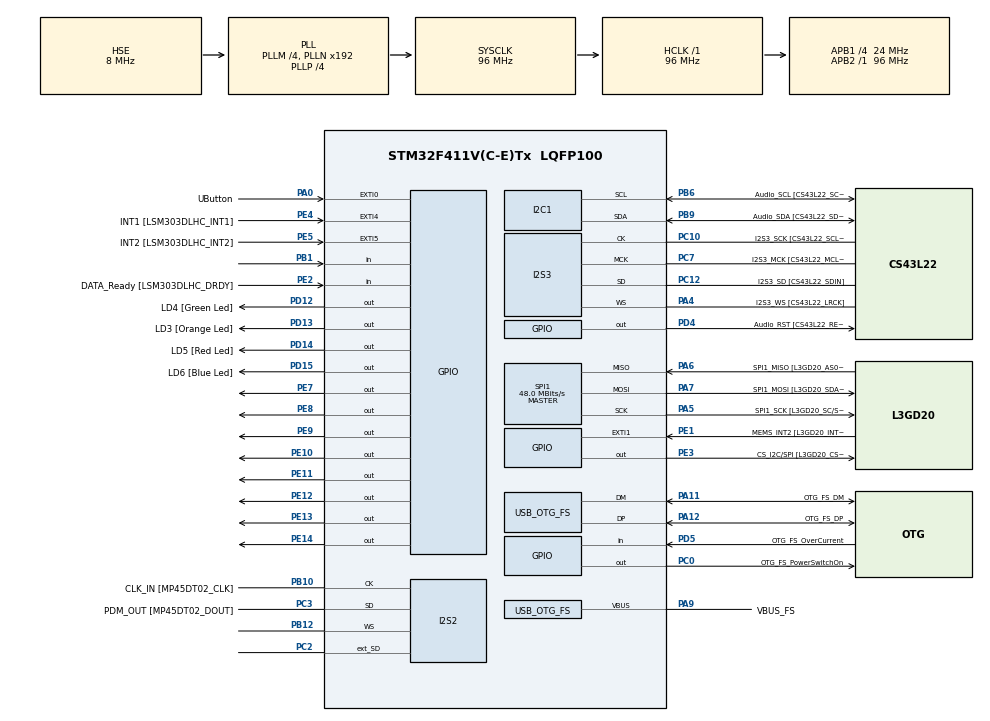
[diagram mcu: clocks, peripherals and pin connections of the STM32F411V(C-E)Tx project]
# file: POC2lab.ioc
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I2S2.AudioFreq=I2S_AUDIOFREQ_96K
I2S2.ErrorAudioFreq=0.15 %
I2S2.FullDuplexMode=I2S_FULLDUPLEXMODE_ENABLE
I2S2.Instance=SPI$Index
I2S2.RealAudioFreq=96.153 KHz
I2S2.VirtualMode=I2S_MODE_MASTER
I2S3.AudioFreq=I2S_AUDIOFREQ_96K
I2S3.ErrorAudioFreq=-6.99 %
I2S3.FullDuplexMode=I2S_FULLDUPLEXMODE_DISABLE
I2S3.Instance=SPI$Index
I2S3.RealAudioFreq=89.285 KHz
I2S3.VirtualMode=I2S_MODE_MASTER
Mcu.Family=STM32F4
Mcu.Name=STM32F411V(C-E)Tx
Mcu.Package=LQFP100
NVIC.OTG_FS_IRQn=true\:0\:0\:false\:false\:true\:true\:true\:true
NVIC.PriorityGroup=NVIC_PRIORITYGROUP_0
PA0-WKUP.GPIO_Label=UButton
PA0-WKUP.GPIO_ModeDefaultEXTI=GPIO_MODE_EVT_RISING
PA0-WKUP.Signal=GPXTI0
PA10.GPIO_Label=OTG_FS_ID
PA10.Signal=USB_OTG_FS_ID
PA11.GPIO_Label=OTG_FS_DM
PA11.Mode=Host_Only
PA11.Signal=USB_OTG_FS_DM
PA12.GPIO_Label=OTG_FS_DP
PA12.Mode=Host_Only
PA12.Signal=USB_OTG_FS_DP
PA13.GPIO_Label=SWDIO
PA13.Mode=Serial_Wire
PA13.Signal=SYS_JTMS-SWDIO
PA14.GPIO_Label=SWCLK
PA14.Mode=Serial_Wire
PA14.Signal=SYS_JTCK-SWCLK
PA4.GPIO_Label=I2S3_WS [CS43L22_LRCK]
PA4.GPIO_Mode=GPIO_MODE_AF_PP
PA4.GPIO_PuPd=GPIO_NOPULL
PA4.GPIO_Speed=GPIO_SPEED_FREQ_LOW
PA4.Mode=Half_Duplex_Master
PA4.Signal=I2S3_WS
PA5.GPIO_Label=SPI1_SCK [L3GD20_SC/SPC]
PA5.Mode=Full_Duplex_Master
PA5.Signal=SPI1_SCK
PA6.GPIO_Label=SPI1_MISO [L3GD20_AS0/SDO]
PA6.Mode=Full_Duplex_Master
PA6.Signal=SPI1_MISO
PA7.GPIO_Label=SPI1_MOSI [L3GD20_SDA/SDI/SDO]
PA7.Mode=Full_Duplex_Master
PA7.Signal=SPI1_MOSI
PA9.GPIO_Label=VBUS_FS
PA9.Mode=Activate_VBUS
PA9.Signal=USB_OTG_FS_VBUS
PB1.Signal=GPIO_Input
PB10.GPIO_Label=CLK_IN [MP45DT02_CLK]
PB10.Mode=Full_Duplex_Master
PB10.Signal=I2S2_CK
PB12.Mode=Full_Duplex_Master
PB12.Signal=I2S2_WS
PB3.GPIO_Label=SWO
PB3.Signal=SYS_JTDO-SWO
PB6.GPIO_Label=Audio_SCL [CS43L22_SCL]
PB6.GPIO_Mode=GPIO_MODE_AF_OD
PB6.GPIO_Pu=GPIO_PULLUP
PB6.GPIO_PuPd=GPIO_NOPULL
PB6.GPIO_Speed=GPIO_SPEED_FREQ_LOW
PB6.Mode=I2C
PB6.Signal=I2C1_SCL
PB9.GPIO_Label=Audio_SDA [CS43L22_SDA]
PB9.GPIO_Mode=GPIO_MODE_AF_OD
PB9.GPIO_Pu=GPIO_PULLUP
PB9.GPIO_PuPd=GPIO_NOPULL
PB9.GPIO_Speed=GPIO_SPEED_FREQ_LOW
PB9.Mode=I2C
PB9.Signal=I2C1_SDA
PC0.GPIO_Label=OTG_FS_PowerSwitchOn
PC0.PinState=GPIO_PIN_SET
PC0.Signal=GPIO_Output
PC10.GPIO_Label=I2S3_SCK [CS43L22_SCLK]
PC10.GPIO_Mode=GPIO_MODE_AF_PP
PC10.GPIO_PuPd=GPIO_NOPULL
PC10.GPIO_Speed=GPIO_SPEED_FREQ_LOW
PC10.Mode=Half_Duplex_Master
PC10.Signal=I2S3_CK
PC12.GPIO_Label=I2S3_SD [CS43L22_SDIN]
PC12.GPIO_Mode=GPIO_MODE_AF_PP
PC12.GPIO_PuPd=GPIO_NOPULL
PC12.GPIO_Speed=GPIO_SPEED_FREQ_LOW
PC12.Mode=Half_Duplex_Master
PC12.Signal=I2S3_SD
PC14-OSC32_IN.GPIO_Label=PC14-OSC32_IN
PC14-OSC32_IN.Mode=LSE-External-Oscillator
PC14-OSC32_IN.Signal=RCC_OSC32_IN
PC15-OSC32_OUT.GPIO_Label=PC15-OSC32_OUT
PC15-OSC32_OUT.Mode=LSE-External-Oscillator
PC15-OSC32_OUT.Signal=RCC_OSC32_OUT
PC2.Mode=Full_Duplex_Master
PC2.Signal=I2S2_ext_SD
PC3.GPIO_Label=PDM_OUT [MP45DT02_DOUT]
PC3.Mode=Full_Duplex_Master
PC3.Signal=I2S2_SD
PC7.GPIO_Label=I2S3_MCK [CS43L22_MCLK]
PC7.GPIO_Mode=GPIO_MODE_AF_PP
PC7.GPIO_PuPd=GPIO_NOPULL
PC7.GPIO_Speed=GPIO_SPEED_FREQ_LOW
PC7.Mode=Master_Clock_Activated
PC7.Signal=I2S3_MCK
PD12.GPIO_Label=LD4 [Green Led]
PD12.GPIO_PuPd=GPIO_NOPULL
PD12.GPIO_Speed=GPIO_SPEED_FREQ_LOW
PD12.Signal=GPIO_Output
PD13.GPIO_Label=LD3 [Orange Led]
PD13.GPIO_PuPd=GPIO_NOPULL
PD13.GPIO_Speed=GPIO_SPEED_FREQ_LOW
PD13.Signal=GPIO_Output
PD14.GPIO_Label=LD5 [Red Led]
PD14.GPIO_PuPd=GPIO_NOPULL
PD14.GPIO_Speed=GPIO_SPEED_FREQ_LOW
PD14.Signal=GPIO_Output
PD15.GPIO_Label=LD6 [Blue Led]
PD15.GPIO_PuPd=GPIO_NOPULL
PD15.GPIO_Speed=GPIO_SPEED_FREQ_LOW
PD15.Signal=GPIO_Output
PD4.GPIO_Label=Audio_RST [CS43L22_RESET]
PD4.Signal=GPIO_Output
PD5.GPIO_Label=OTG_FS_OverCurrent
PD5.Signal=GPIO_Input
PE1.GPIO_Label=MEMS_INT2 [L3GD20_INT2]
PE1.GPIO_ModeDefaultEXTI=GPIO_MODE_EVT_RISING
PE1.Signal=GPXTI1
PE10.Signal=GPIO_Output
PE11.Signal=GPIO_Output
PE12.Signal=GPIO_Output
PE13.Signal=GPIO_Output
PE14.Signal=GPIO_Output
PE2.GPIO_Label=DATA_Ready [LSM303DLHC_DRDY]
PE2.Signal=GPIO_Input
PE3.GPIO_Label=CS_I2C/SPI [L3GD20_CS_I2C/SPI]
PE3.Signal=GPIO_Output
PE4.GPIO_Label=INT1 [LSM303DLHC_INT1]
PE4.GPIO_ModeDefaultEXTI=GPIO_MODE_EVT_RISING
PE4.Signal=GPXTI4
PE5.GPIO_Label=INT2 [LSM303DLHC_INT2]
PE5.GPIO_ModeDefaultEXTI=GPIO_MODE_EVT_RISING
PE5.Signal=GPXTI5
PE7.Signal=GPIO_Output
PE8.Signal=GPIO_Output
PE9.Signal=GPIO_Output
PH0\ -\ OSC_IN.GPIO_Label=PH0-OSC_IN
PH0\ -\ OSC_IN.Mode=HSE-External-Oscillator
PH0\ -\ OSC_IN.Signal=RCC_OSC_IN
PH1\ -\ OSC_OUT.GPIO_Label=PH1-OSC_OUT
PH1\ -\ OSC_OUT.Mode=HSE-External-Oscillator
PH1\ -\ OSC_OUT.Signal=RCC_OSC_OUT
ProjectManager.HeapSize=0x200
ProjectManager.StackSize=0x400
ProjectManager.TargetToolchain=STM32CubeIDE
RCC.48MHZClocksFreq_Value=48000000
RCC.AHBFreq_Value=96000000
RCC.APB1CLKDivider=RCC_HCLK_DIV4
RCC.APB1Freq_Value=24000000
RCC.APB1TimFreq_Value=48000000
RCC.APB2Freq_Value=96000000
RCC.APB2TimFreq_Value=96000000
RCC.CortexFreq_Value=96000000
RCC.HCLKFreq_Value=96000000
RCC.HSE_VALUE=8000000
RCC.HSI_VALUE=16000000
RCC.PLLI2SM=5
RCC.PLLI2SN=200
RCC.PLLM=4
RCC.PLLP=RCC_PLLP_DIV4
RCC.PLLQ=8
RCC.SYSCLKFreq_VALUE=96000000
RCC.SYSCLKSource=RCC_SYSCLKSOURCE_PLLCLK
RCC.VCOOutputFreq_Value=384000000
SPI1.BaudRatePrescaler=SPI_BAUDRATEPRESCALER_2
SPI1.CalculateBaudRate=48.0 MBits/s
SPI1.Direction=SPI_DIRECTION_2LINES
SPI1.Mode=SPI_MODE_MASTER
SPI1.VirtualType=VM_MASTER
USB_HOST.BSP.number=1
USB_HOST.USBH_HandleTypeDef=hUsbHostFS
USB_HOST.VirtualModeFS=Cdc
USB_HOST0.BSP.STBoard=false
USB_HOST0.BSP.api=Unknown
USB_HOST0.BSP.instance=PC0
USB_HOST0.BSP.ip=GPIO
USB_HOST0.BSP.mode=Output
USB_HOST0.BSP.name=Drive_VBUS_FS
USB_HOST0.BSP.solution=PC0
USB_OTG_FS.VirtualMode=Host_Only
USB_OTG_FS.phy_itface=HCD_PHY_EMBEDDED
VP_USB_HOST_VS_USB_HOST_CDC_FS.Mode=CDC_FS
board=STM32F411E-DISCO

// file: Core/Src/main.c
/* USER CODE BEGIN Header */
/**
  ******************************************************************************
  * @file           : main.c
  * @brief          : Main program body
  ******************************************************************************
  * @attention
  *
  * Copyright (c) 2023 STMicroelectronics.
  * All rights reserved.
  *
  * This software is licensed under terms that can be found in the LICENSE file
  * in the root directory of this software component.
  * If no LICENSE file comes with this software, it is provided AS-IS.
  *
  ******************************************************************************
  */
/* USER CODE END Header */
#include "main.h"
#include "usb_host.h"

I2C_HandleTypeDef hi2c1;

I2S_HandleTypeDef hi2s2;
I2S_HandleTypeDef hi2s3;

SPI_HandleTypeDef hspi1;

void SystemClock_Config(void);
void PeriphCommonClock_Config(void);
static void MX_GPIO_Init(void);
static void MX_I2C1_Init(void);
static void MX_I2S2_Init(void);
static void MX_I2S3_Init(void);
static void MX_SPI1_Init(void);
void MX_USB_HOST_Process(void);

int main(void)
{

  /* MCU Configuration--------------------------------------------------------*/

  /* Reset of all peripherals, Initializes the Flash interface and the Systick. */
  HAL_Init();

  /* Configure the system clock */
  SystemClock_Config();

/* Configure the peripherals common clocks */
  PeriphCommonClock_Config();

  /* Initialize all configured peripherals */
  MX_GPIO_Init();
  MX_I2C1_Init();
  MX_I2S2_Init();
  MX_I2S3_Init();
  MX_SPI1_Init();
  MX_USB_HOST_Init();

  /* Infinite loop */
  /* USER CODE BEGIN WHILE */
  int pressed = 0;
  while (1)
  {
	  if ( HAL_GPIO_ReadPin(GPIOB, GPIO_PIN_1))
	   {
		   ++pressed;
		      HAL_Delay(50); //<========
		      while( HAL_GPIO_ReadPin(GPIOB, GPIO_PIN_1) )
		      {}
		      HAL_Delay(50);
	   }

	   HAL_GPIO_WritePin(GPIOE, GPIO_PIN_7, pressed & 1);
	   HAL_GPIO_WritePin(GPIOE, GPIO_PIN_8, pressed & 1 << 1);
	   HAL_GPIO_WritePin(GPIOE, GPIO_PIN_9, pressed & 1 << 2);
	   HAL_GPIO_WritePin(GPIOE, GPIO_PIN_10, pressed & 1 << 3);
	   HAL_GPIO_WritePin(GPIOE, GPIO_PIN_11, pressed & 1 << 4);
	   HAL_GPIO_WritePin(GPIOE, GPIO_PIN_12, pressed & 1 << 5);
	   HAL_GPIO_WritePin(GPIOE, GPIO_PIN_13, pressed & 1 << 6);
	   HAL_GPIO_WritePin(GPIOE, GPIO_PIN_14, pressed & 1 << 7);
    /* USER CODE END WHILE */
    MX_USB_HOST_Process();

  }
}

void SystemClock_Config(void)
{
  RCC_OscInitTypeDef RCC_OscInitStruct = {0};
  RCC_ClkInitTypeDef RCC_ClkInitStruct = {0};

  /** Configure the main internal regulator output voltage
  */
  __HAL_RCC_PWR_CLK_ENABLE();
  __HAL_PWR_VOLTAGESCALING_CONFIG(PWR_REGULATOR_VOLTAGE_SCALE1);

  /** Initializes the RCC Oscillators according to the specified parameters
  * in the RCC_OscInitTypeDef structure.
  */
  RCC_OscInitStruct.OscillatorType = RCC_OSCILLATORTYPE_HSE;
  RCC_OscInitStruct.HSEState = RCC_HSE_ON;
  RCC_OscInitStruct.PLL.PLLState = RCC_PLL_ON;
  RCC_OscInitStruct.PLL.PLLSource = RCC_PLLSOURCE_HSE;
  RCC_OscInitStruct.PLL.PLLM = 4;
  RCC_OscInitStruct.PLL.PLLN = 192;
  RCC_OscInitStruct.PLL.PLLP = RCC_PLLP_DIV4;
  RCC_OscInitStruct.PLL.PLLQ = 8;
  if (HAL_RCC_OscConfig(&RCC_OscInitStruct) != HAL_OK)
  {
    Error_Handler();
  }

  /** Initializes the CPU, AHB and APB buses clocks
  */
  RCC_ClkInitStruct.ClockType = RCC_CLOCKTYPE_HCLK|RCC_CLOCKTYPE_SYSCLK
                              |RCC_CLOCKTYPE_PCLK1|RCC_CLOCKTYPE_PCLK2;
  RCC_ClkInitStruct.SYSCLKSource = RCC_SYSCLKSOURCE_PLLCLK;
  RCC_ClkInitStruct.AHBCLKDivider = RCC_SYSCLK_DIV1;
  RCC_ClkInitStruct.APB1CLKDivider = RCC_HCLK_DIV4;
  RCC_ClkInitStruct.APB2CLKDivider = RCC_HCLK_DIV1;

  if (HAL_RCC_ClockConfig(&RCC_ClkInitStruct, FLASH_LATENCY_3) != HAL_OK)
  {
    Error_Handler();
  }
}

void PeriphCommonClock_Config(void)
{
  RCC_PeriphCLKInitTypeDef PeriphClkInitStruct = {0};

  /** Initializes the peripherals clock
  */
  PeriphClkInitStruct.PeriphClockSelection = RCC_PERIPHCLK_I2S;
  PeriphClkInitStruct.PLLI2S.PLLI2SN = 200;
  PeriphClkInitStruct.PLLI2S.PLLI2SM = 5;
  PeriphClkInitStruct.PLLI2S.PLLI2SR = 2;
  if (HAL_RCCEx_PeriphCLKConfig(&PeriphClkInitStruct) != HAL_OK)
  {
    Error_Handler();
  }
}

static void MX_I2C1_Init(void)
{

  hi2c1.Instance = I2C1;
  hi2c1.Init.ClockSpeed = 100000;
  hi2c1.Init.DutyCycle = I2C_DUTYCYCLE_2;
  hi2c1.Init.OwnAddress1 = 0;
  hi2c1.Init.AddressingMode = I2C_ADDRESSINGMODE_7BIT;
  hi2c1.Init.DualAddressMode = I2C_DUALADDRESS_DISABLE;
  hi2c1.Init.OwnAddress2 = 0;
  hi2c1.Init.GeneralCallMode = I2C_GENERALCALL_DISABLE;
  hi2c1.Init.NoStretchMode = I2C_NOSTRETCH_DISABLE;
  if (HAL_I2C_Init(&hi2c1) != HAL_OK)
  {
    Error_Handler();
  }

}

static void MX_I2S2_Init(void)
{

  hi2s2.Instance = SPI2;
  hi2s2.Init.Mode = I2S_MODE_MASTER_TX;
  hi2s2.Init.Standard = I2S_STANDARD_PHILIPS;
  hi2s2.Init.DataFormat = I2S_DATAFORMAT_16B;
  hi2s2.Init.MCLKOutput = I2S_MCLKOUTPUT_DISABLE;
  hi2s2.Init.AudioFreq = I2S_AUDIOFREQ_96K;
  hi2s2.Init.CPOL = I2S_CPOL_LOW;
  hi2s2.Init.ClockSource = I2S_CLOCK_PLL;
  hi2s2.Init.FullDuplexMode = I2S_FULLDUPLEXMODE_ENABLE;
  if (HAL_I2S_Init(&hi2s2) != HAL_OK)
  {
    Error_Handler();
  }

}

static void MX_I2S3_Init(void)
{

  hi2s3.Instance = SPI3;
  hi2s3.Init.Mode = I2S_MODE_MASTER_TX;
  hi2s3.Init.Standard = I2S_STANDARD_PHILIPS;
  hi2s3.Init.DataFormat = I2S_DATAFORMAT_16B;
  hi2s3.Init.MCLKOutput = I2S_MCLKOUTPUT_ENABLE;
  hi2s3.Init.AudioFreq = I2S_AUDIOFREQ_96K;
  hi2s3.Init.CPOL = I2S_CPOL_LOW;
  hi2s3.Init.ClockSource = I2S_CLOCK_PLL;
  hi2s3.Init.FullDuplexMode = I2S_FULLDUPLEXMODE_DISABLE;
  if (HAL_I2S_Init(&hi2s3) != HAL_OK)
  {
    Error_Handler();
  }

}

static void MX_SPI1_Init(void)
{

  /* SPI1 parameter configuration*/
  hspi1.Instance = SPI1;
  hspi1.Init.Mode = SPI_MODE_MASTER;
  hspi1.Init.Direction = SPI_DIRECTION_2LINES;
  hspi1.Init.DataSize = SPI_DATASIZE_8BIT;
  hspi1.Init.CLKPolarity = SPI_POLARITY_LOW;
  hspi1.Init.CLKPhase = SPI_PHASE_1EDGE;
  hspi1.Init.NSS = SPI_NSS_SOFT;
  hspi1.Init.BaudRatePrescaler = SPI_BAUDRATEPRESCALER_2;
  hspi1.Init.FirstBit = SPI_FIRSTBIT_MSB;
  hspi1.Init.TIMode = SPI_TIMODE_DISABLE;
  hspi1.Init.CRCCalculation = SPI_CRCCALCULATION_DISABLE;
  hspi1.Init.CRCPolynomial = 10;
  if (HAL_SPI_Init(&hspi1) != HAL_OK)
  {
    Error_Handler();
  }

}

static void MX_GPIO_Init(void)
{
  GPIO_InitTypeDef GPIO_InitStruct = {0};

  /* GPIO Ports Clock Enable */
  __HAL_RCC_GPIOE_CLK_ENABLE();
  __HAL_RCC_GPIOC_CLK_ENABLE();
  __HAL_RCC_GPIOH_CLK_ENABLE();
  __HAL_RCC_GPIOA_CLK_ENABLE();
  __HAL_RCC_GPIOB_CLK_ENABLE();
  __HAL_RCC_GPIOD_CLK_ENABLE();

  /*Configure GPIO pin Output Level */
  HAL_GPIO_WritePin(GPIOE, CS_I2C_SPI_Pin|GPIO_PIN_7|GPIO_PIN_8|GPIO_PIN_9
                          |GPIO_PIN_10|GPIO_PIN_11|GPIO_PIN_12|GPIO_PIN_13
                          |GPIO_PIN_14, GPIO_PIN_RESET);

  /*Configure GPIO pin Output Level */
  HAL_GPIO_WritePin(OTG_FS_PowerSwitchOn_GPIO_Port, OTG_FS_PowerSwitchOn_Pin, GPIO_PIN_SET);

  /*Configure GPIO pin Output Level */
  HAL_GPIO_WritePin(GPIOD, LD4_Pin|LD3_Pin|LD5_Pin|LD6_Pin
                          |Audio_RST_Pin, GPIO_PIN_RESET);

  /*Configure GPIO pin : DATA_Ready_Pin */
  GPIO_InitStruct.Pin = DATA_Ready_Pin;
  GPIO_InitStruct.Mode = GPIO_MODE_INPUT;
  GPIO_InitStruct.Pull = GPIO_NOPULL;
  HAL_GPIO_Init(DATA_Ready_GPIO_Port, &GPIO_InitStruct);

  /*Configure GPIO pins : CS_I2C_SPI_Pin PE7 PE8 PE9
                           PE10 PE11 PE12 PE13
                           PE14 */
  GPIO_InitStruct.Pin = CS_I2C_SPI_Pin|GPIO_PIN_7|GPIO_PIN_8|GPIO_PIN_9
                          |GPIO_PIN_10|GPIO_PIN_11|GPIO_PIN_12|GPIO_PIN_13
                          |GPIO_PIN_14;
  GPIO_InitStruct.Mode = GPIO_MODE_OUTPUT_PP;
  GPIO_InitStruct.Pull = GPIO_NOPULL;
  GPIO_InitStruct.Speed = GPIO_SPEED_FREQ_LOW;
  HAL_GPIO_Init(GPIOE, &GPIO_InitStruct);

  /*Configure GPIO pins : INT1_Pin INT2_Pin MEMS_INT2_Pin */
  GPIO_InitStruct.Pin = INT1_Pin|INT2_Pin|MEMS_INT2_Pin;
  GPIO_InitStruct.Mode = GPIO_MODE_EVT_RISING;
  GPIO_InitStruct.Pull = GPIO_NOPULL;
  HAL_GPIO_Init(GPIOE, &GPIO_InitStruct);

  /*Configure GPIO pin : OTG_FS_PowerSwitchOn_Pin */
  GPIO_InitStruct.Pin = OTG_FS_PowerSwitchOn_Pin;
  GPIO_InitStruct.Mode = GPIO_MODE_OUTPUT_PP;
  GPIO_InitStruct.Pull = GPIO_NOPULL;
  GPIO_InitStruct.Speed = GPIO_SPEED_FREQ_LOW;
  HAL_GPIO_Init(OTG_FS_PowerSwitchOn_GPIO_Port, &GPIO_InitStruct);

  /*Configure GPIO pin : UButton_Pin */
  GPIO_InitStruct.Pin = UButton_Pin;
  GPIO_InitStruct.Mode = GPIO_MODE_EVT_RISING;
  GPIO_InitStruct.Pull = GPIO_NOPULL;
  HAL_GPIO_Init(UButton_GPIO_Port, &GPIO_InitStruct);

  /*Configure GPIO pin : PB1 */
  GPIO_InitStruct.Pin = GPIO_PIN_1;
  GPIO_InitStruct.Mode = GPIO_MODE_INPUT;
  GPIO_InitStruct.Pull = GPIO_NOPULL;
  HAL_GPIO_Init(GPIOB, &GPIO_InitStruct);

  /*Configure GPIO pins : LD4_Pin LD3_Pin LD5_Pin LD6_Pin
                           Audio_RST_Pin */
  GPIO_InitStruct.Pin = LD4_Pin|LD3_Pin|LD5_Pin|LD6_Pin
                          |Audio_RST_Pin;
  GPIO_InitStruct.Mode = GPIO_MODE_OUTPUT_PP;
  GPIO_InitStruct.Pull = GPIO_NOPULL;
  GPIO_InitStruct.Speed = GPIO_SPEED_FREQ_LOW;
  HAL_GPIO_Init(GPIOD, &GPIO_InitStruct);

  /*Configure GPIO pin : OTG_FS_OverCurrent_Pin */
  GPIO_InitStruct.Pin = OTG_FS_OverCurrent_Pin;
  GPIO_InitStruct.Mode = GPIO_MODE_INPUT;
  GPIO_InitStruct.Pull = GPIO_NOPULL;
  HAL_GPIO_Init(OTG_FS_OverCurrent_GPIO_Port, &GPIO_InitStruct);

}

void Error_Handler(void)
{
  __disable_irq();
  while (1)
  {
  }
}
